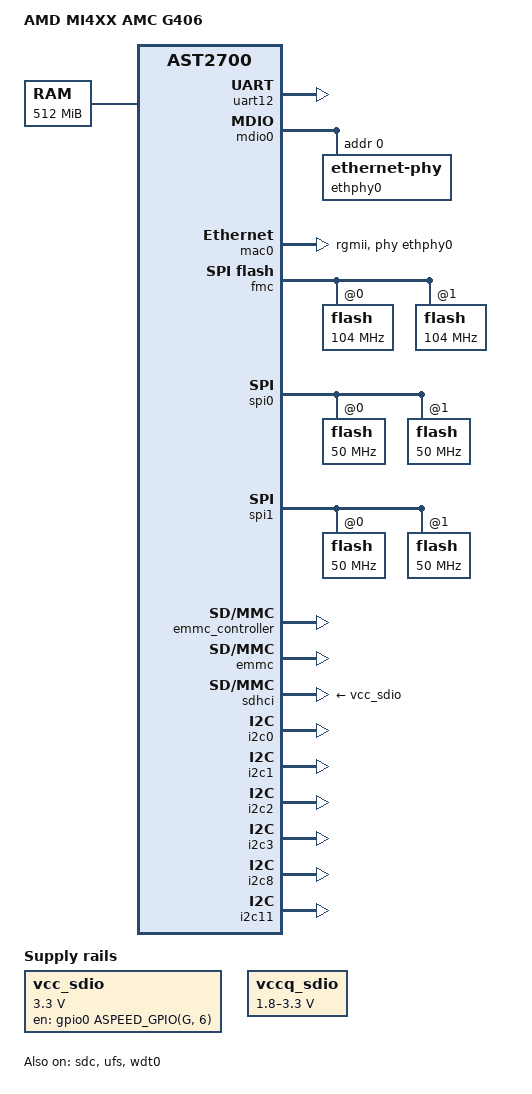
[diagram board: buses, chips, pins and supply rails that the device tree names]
// SPDX-License-Identifier: GPL-2.0+

/dts-v1/;

#include "ast2700.dtsi"
#include "ast2700-u-boot.dtsi"

/ {
	model = "AMD MI4XX AMC G406";
	compatible = "aspeed,ast2700-evb", "aspeed,ast2700";

	memory {
		device_type = "memory";
		reg = <0x4 0x00000000 0x0 0x20000000>;
	};

	chosen {
		stdout-path = &uart12;
	};

	reserved-memory {
		#address-cells = <2>;
		#size-cells = <2>;

		pcie0_mmbi0_memory: pcie0-mmbi0-memory@423a00000 {
			reg = <0x4 0x23a00000 0x0 0x200000>;
			no-map;
		};

		pcie1_mmbi4_memory: pcie1-mmbi4-memory@423c00000 {
			reg = <0x4 0x23c00000 0x0 0x200000>;
			no-map;
		};

		pcie2_mmbi0_memory: pcie2-mmbi0-memory@423e00000 {
			reg = <0x4 0x23e00000 0x0 0x200000>;
			no-map;
		};

		ssp_memory: ssp-memory@42c000000 {
			reg = <0x4 0x2c000000 0x0 0x2000000>;
			no-map;
		};
	};
};

&uart12 {
	status = "okay";
};

&mdio0 {
	status = "okay";
	#address-cells = <1>;
	#size-cells = <0>;
	ethphy0: ethernet-phy@0 {
		reg = <0>;
	};
};

&mac0 {
	status = "okay";
	phy-mode = "rgmii";
	phy-handle = <&ethphy0>;
	pinctrl-names = "default";
	pinctrl-0 = <&pinctrl_rgmii0_default>;
};

&fmc {
	status = "okay";
	pinctrl-names = "default";
	pinctrl-0 = <&pinctrl_fwspi_quad_default>;

	flash@0 {
		status = "okay";
		spi-max-frequency = <104000000>; // FMC support upto 100MHz
		spi-tx-bus-width = <4>;
		spi-rx-bus-width = <4>;
	};

	flash@1 {
		status = "okay";
		spi-max-frequency = <104000000>; // FMC support upto 100MHz
		spi-tx-bus-width = <4>;
		spi-rx-bus-width = <4>;
	};
};

&spi0 {
	status = "okay";
	pinctrl-names = "default";
	pinctrl-0 = <&pinctrl_spi0_default &pinctrl_spi0_cs1_default>;

	flash@0 {
		status = "okay";
		spi-max-frequency = <50000000>;
		spi-tx-bus-width = <2>;
		spi-rx-bus-width = <2>;
	};

	flash@1 {
		status = "okay";
		spi-max-frequency = <50000000>;
		spi-tx-bus-width = <2>;
		spi-rx-bus-width = <2>;
	};
};

&spi1 {
	status = "okay";
	pinctrl-names = "default";
	pinctrl-0 = <&pinctrl_spi1_default &pinctrl_spi1_cs1_default>;

	flash@0 {
		status = "okay";
		spi-max-frequency = <50000000>;
		spi-tx-bus-width = <2>;
		spi-rx-bus-width = <2>;
	};

	flash@1 {
		status = "okay";
		spi-max-frequency = <50000000>;
		spi-tx-bus-width = <2>;
		spi-rx-bus-width = <2>;
	};
};

&emmc_controller {
	status = "okay";
	sdhci_hs200; /* enable hs200 */
};

&emmc {
	status = "okay";
	max-frequency = <200000000>;
};

&sdc {
	status = "okay";
	sdhci_hs200; /* enable sdr104 */

	vcc_sdio: vcc-sdio {
		status = "okay";
		compatible = "regulator-fixed";
		gpios = <&gpio0 ASPEED_GPIO(G, 6) GPIO_ACTIVE_HIGH>;
		regulator-name = "vcc_sdio";
		regulator-min-microvolt = <3300000>;
		regulator-max-microvolt = <3300000>;
		enable-active-high;
		regulator-boot-on;
	};

	vccq_sdio: vccq-sdio {
		status = "okay";
		compatible = "regulator-gpio";
		gpios = <&gpio0 ASPEED_GPIO(G, 7) GPIO_ACTIVE_HIGH>;
		gpios-states = <1>;
		states = <1800000 0x0>,
			 <3300000 0x1>;
		regulator-name = "vccq_sdio";
		regulator-type = "voltage";
		regulator-min-microvolt = <1800000>;
		regulator-max-microvolt = <3300000>;
		regulator-always-on;
	};
};

&sdhci {
	status = "okay";
	pinctrl-names = "default";
	pinctrl-0 = <&pinctrl_sdio_default>;
	vmmc-supply = <&vcc_sdio>;
	vqmmc-supply = <&vccq_sdio>;
	/*
	 * When running SDR104 mode, it suggests to set driving to 3.
	 * When running HS mode, it suggests to set driving to 2.
	 */
	sdhci-drive-type = <3>;
	max-frequency = <100000000>;
};

&ufs {
	status = "okay";
};

&i2c0 {
	status = "okay";
};

&i2c1 {
	status = "okay";
};

&i2c2 {
	status = "okay";
};

&i2c3 {
	status = "okay";
};

&i2c8 {
	status = "okay";
};

&i2c11 {
	status = "okay";
};

&wdt0 {
	status = "okay";
};

&soc1_clk {
	mac0-clk-delay = <0x33 0x30
			  0x10 0x10
			  0x10 0x10>;
	mac1-clk-delay = <0x31 0x31
			  0x10 0x10
			  0x10 0x10>;
};
